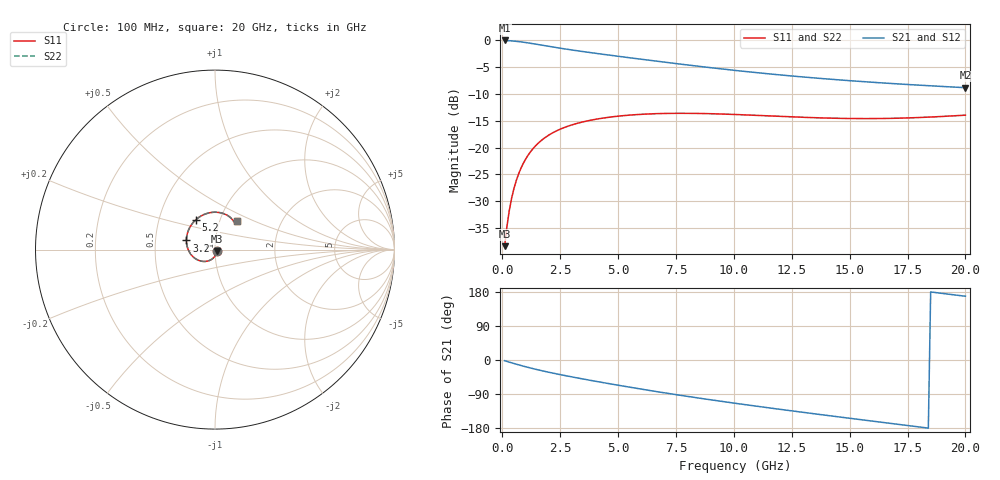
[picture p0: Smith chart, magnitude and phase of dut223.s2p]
! Touchstone file exported from HFSS 2023.1.0
!  File:  D:/Users/fzz/RDL_TSV/temp_RDL_TSV_223_1778758031.aedt
!  Generated:  7:36:40 %x4E0B%x5348  5%x6708 14, 2026
!  Design:  RDL_TSV
!  Project:  temp_RDL_TSV_223_1778758031
!  Setup:  Setup1
!  Solution:  Sweep
! Variables:
!  dtsv = 13.56um
!  hbump = 3um
!  htsv = 92.01um
!  ldown = 573.34um
!  lrdl = 198.24um
!  p = 40
!  p1 = 46.11um
!  rhole = 10um
!  subl = 2512.98um
!  t = 450um
!  tdown = 4.08um
!  trdl = 3.49um
!  viad = 10um
!  wdown = 27.66um
!  wrdl = 26.34um
!  xbump = 18um
# GHz S MA R 50.000000
! Terminal data exported
! Port[1] = TM1_1_T1
! Port[2] = TM1_4_T1
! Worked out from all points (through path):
!   200 points, 100 MHz to 20 GHz, reference 50 ohm
!   highest |S21| = -0.09 dB at 100 MHz (marker M1); lowest = -8.9 dB at 20 GHz (marker M2)
!   group delay of S21, straight-line fit = 25.1 ps
!   lowest |S11| = -38.3 dB at 100 MHz (marker M3), VSWR 1.02, Z = 50.9 - j0.828 ohm
!   |S11| at or under -10 dB: start of sweep to end of sweep
!   |S22| runs from -38.3 to -13.6 dB; largest |S21 - S12| = 2.5e-14
!   S11 on the Smith chart (normalised r, x): 100 MHz: 1.02, -0.02; 3.2 GHz: 0.72, +0.08; 5.2 GHz: 0.77, +0.27; 20 GHz: 1.21, +0.40
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0.1  0.01213 -42.1  0.9898 -1.9  0.9898 -1.9  0.01213 -42.1
! Gamma 0 0 0 0
! Port Impedance 50 0 50 0
0.2  0.01842 -64.9  0.9876 -3.8  0.9876 -3.8  0.01842 -64.9
0.3  0.02586 -78.4  0.9846 -5.6  0.9846 -5.6  0.02586 -78.4
0.4  0.03363 -88.1  0.981 -7.4  0.981 -7.4  0.03363 -88.1
0.5  0.04142 -95.8  0.9767 -9.2  0.9767 -9.2  0.04142 -95.8
0.7  0.05659 -108.5  0.9665 -12.7  0.9665 -12.7  0.05659 -108.5
1  0.07763 -124.0  0.9474 -17.7  0.9474 -17.7  0.07764 -124.0
1.4  0.1019 -141.4  0.9182 -23.9  0.9182 -23.9  0.1019 -141.4
1.9  0.1262 -159.9  0.8807 -30.9  0.8807 -30.9  0.1262 -160.0
2.5  0.1483 -178.9  0.8389 -38.6  0.8389 -38.6  0.1484 -179.0
3.2  0.1672 162.3  0.7961 -46.9  0.7961 -46.9  0.1673 162.3
3.5  0.1737 155.2  0.7794 -50.3  0.7794 -50.3  0.1738 155.1
4.3  0.1873 138.2  0.7384 -59.1  0.7384 -59.1  0.1875 138.2
5.2  0.1978 122.2  0.6966 -68.7  0.6966 -68.7  0.1981 122.1
6.8  0.2071 99.6  0.63 -84.7  0.63 -84.7  0.2074 99.6
8.4  0.2078 83.1  0.572 -99.7  0.572 -99.7  0.2081 83.0
10.1  0.2029 70.5  0.5202 -114.6  0.5202 -114.6  0.2033 70.5
11.7  0.1963 62.6  0.48 -127.8  0.48 -127.8  0.1966 62.5
13.4  0.1898 57.4  0.4453 -141.4  0.4453 -141.4  0.1902 57.3
15  0.1863 54.9  0.4186 -153.8  0.4186 -153.8  0.1866 54.8
16.7  0.1868 53.7  0.3953 -166.8  0.3953 -166.8  0.187 53.6
20  0.2002 52.4  0.3604 168.2  0.3604 168.2  0.2004 52.3
